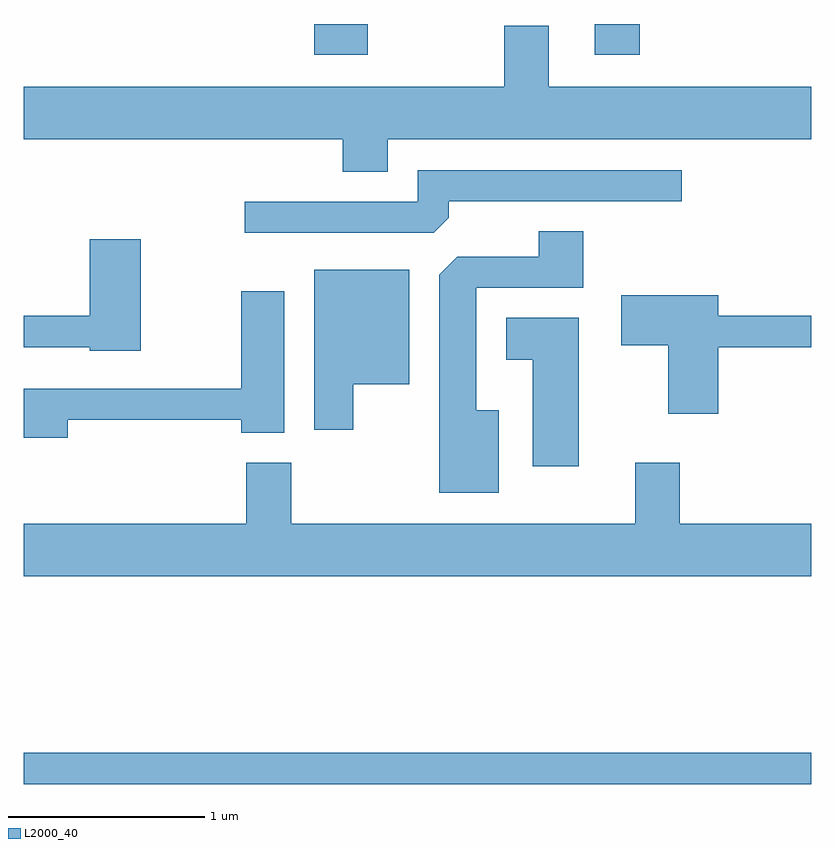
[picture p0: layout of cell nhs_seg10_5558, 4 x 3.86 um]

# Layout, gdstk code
import gdstk
lib = gdstk.Library(unit=1e-6, precision=1e-09)
def R(c, l, rs):  # rectangles x0, y0, x1, y1
    for r in rs: c.add(gdstk.rectangle(r[:2], r[2:], *l))
def P(c, l, *ps):  # polygons
    for p in ps: c.add(gdstk.Polygon(p, *l))
L2000_40 = (2000, 40)

nhs_seg10_5558 = lib.new_cell('nhs_seg10_5558')
R(nhs_seg10_5558, L2000_40, [(349.611,2090.661,353.611,2090.819), (351.086,2094.366,351.359,2094.522), (352.511,2094.366,352.739,2094.522)])
P(nhs_seg10_5558, L2000_40, [(351.459,2093.936),(353.611,2093.936),(353.611,2094.204),(352.279,2094.204),(352.279,2094.514),(352.051,2094.514),(352.051,2094.204),(349.611,2094.204),(349.611,2093.936),(351.231,2093.936),(351.231,2093.771),(351.459,2093.771)],
  [(351.769,2093.537),(351.769,2093.621),(352.953,2093.621),(352.953,2093.779),(351.611,2093.779),(351.611,2093.619),(350.733,2093.619),(350.733,2093.461),(351.694,2093.461)],
  [(352.024,2092.559),(351.909,2092.559),(351.909,2093.181),(352.454,2093.181),(352.454,2093.469),(352.226,2093.469),(352.226,2093.339),(351.812,2093.339),(351.721,2093.249),(351.721,2092.141),(352.024,2092.141)],
  [(350.204,2093.429),(349.946,2093.429),(349.946,2093.039),(349.611,2093.039),(349.611,2092.881),(349.946,2092.881),(349.946,2092.861),(350.204,2092.861)],
  [(351.284,2092.691),(351.569,2092.691),(351.569,2093.274),(351.086,2093.274),(351.086,2092.461),(351.284,2092.461)],
  [(349.834,2092.511),(350.716,2092.511),(350.716,2092.446),(350.934,2092.446),(350.934,2093.164),(350.716,2093.164),(350.716,2092.669),(349.611,2092.669),(349.611,2092.421),(349.834,2092.421)],
  [(353.139,2092.881),(353.611,2092.881),(353.611,2093.039),(353.139,2093.039),(353.139,2093.144),(352.646,2093.144),(352.646,2092.891),(352.886,2092.891),(352.886,2092.541),(353.139,2092.541)],
  [(352.429,2093.029),(352.061,2093.029),(352.061,2092.816),(352.196,2092.816),(352.196,2092.276),(352.429,2092.276)],
  [(353.611,2091.984),(352.944,2091.984),(352.944,2092.294),(352.716,2092.294),(352.716,2091.984),(350.969,2091.984),(350.969,2092.294),(350.741,2092.294),(350.741,2091.984),(349.611,2091.984),(349.611,2091.716),(353.611,2091.716)])

lib.write_gds('nhs_seg10_5558.gds')
